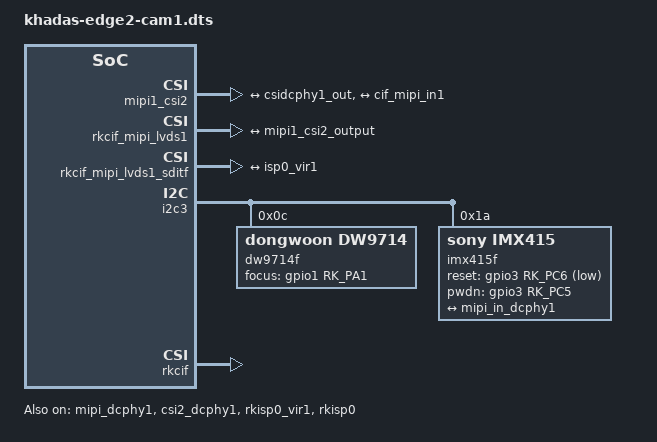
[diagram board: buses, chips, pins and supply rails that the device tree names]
/dts-v1/;
/plugin/;

#include <dt-bindings/clock/rk3588-cru.h>
#include <dt-bindings/power/rk3588-power.h>
#include <dt-bindings/gpio/gpio.h>
#include <dt-bindings/pinctrl/rockchip.h>

/ {
	fragment@0 {
		target = <&mipi_dcphy1>;

		__overlay__ {
			status = "okay";
		};
	};

	fragment@1 {
		target = <&csi2_dcphy1>;

		__overlay__ {
			status = "okay";

			ports {
				#address-cells = <1>;
				#size-cells = <0>;
				port@0 {
					reg = <0>;
					#address-cells = <1>;
					#size-cells = <0>;
		
					mipi_in_dcphy1: endpoint@1 {
						reg = <1>;
						remote-endpoint = <&imx415f_out1>;
						data-lanes = <1 2 3 4>;
					};
				};

				port@1 {
					reg = <1>;
					#address-cells = <1>;
					#size-cells = <0>;
		
					csidcphy1_out: endpoint@0 {
						reg = <0>;
						remote-endpoint = <&mipi1_csi2_input>;
					};
				};
			};		
		};
	};

	fragment@2 {
		target = <&mipi1_csi2>;

		__overlay__ {
			status = "okay";

			ports {
				#address-cells = <1>;
				#size-cells = <0>;
		
				port@0 {
					reg = <0>;
					#address-cells = <1>;
					#size-cells = <0>;
		
					mipi1_csi2_input: endpoint@1 {
						reg = <1>;
						remote-endpoint = <&csidcphy1_out>;
					};
				};
		
				port@1 {
					reg = <1>;
					#address-cells = <1>;
					#size-cells = <0>;
		
					mipi1_csi2_output: endpoint@0 {
						reg = <0>;
						remote-endpoint = <&cif_mipi_in1>;
					};
				};
			};			
		};
	};

	fragment@3 {
		target = <&rkcif_mipi_lvds1>;

		__overlay__ {
			status = "okay";

			port {
				cif_mipi_in1: endpoint {
					remote-endpoint = <&mipi1_csi2_output>;
				};
			};		
		};
	};

	fragment@4 {
		target = <&rkcif_mipi_lvds1_sditf>;

		__overlay__ {
			status = "okay";

			port {
				mipi1_lvds_sditf: endpoint {
					remote-endpoint = <&isp0_vir1>;
				};
			};		
		};
	};

	fragment@5 {
		target = <&rkisp0_vir1>;

		__overlay__ {
			status = "okay";

			port {
				#address-cells = <1>;
				#size-cells = <0>;
		
				isp0_vir1: endpoint@0 {
					reg = <0>;
					remote-endpoint = <&mipi1_lvds_sditf>;
				};
			};				
		};
	};

	fragment@6 {
		target = <&i2c3>;

		__overlay__ {
			status = "okay";
			pinctrl-names = "default";
			pinctrl-0 = <&i2c3m0_xfer>;
		
			dw9714f: dw9714f@c {
				compatible = "dongwoon,dw9714";
				status = "okay";
				reg = <0x0c>;
				pinctrl-names = "focusf_gpios";
				pinctrl-0 = <&focusf_gpio>;
				focus-gpios = <&gpio1 RK_PA1 GPIO_ACTIVE_HIGH>;
				rockchip,vcm-start-current = <20>;
				rockchip,vcm-rated-current = <76>;
				rockchip,vcm-step-mode = <0>;
				rockchip,camera-module-index = <1>;
				rockchip,camera-module-facing = "front";
			};
		
			imx415f: imx415f@1a {
				compatible = "sony,imx415";
				status = "okay";
				reg = <0x1a>;
				clocks = <&cru CLK_MIPI_CAMARAOUT_M2>;
				clock-names = "xvclk";
				power-domains = <&power RK3588_PD_VI>;
				pinctrl-names = "default", "camf_gpios";
				pinctrl-0 = <&mipim1_camera2_clk>, <&camf_gpio>;
				rockchip,grf = <&sys_grf>;
				reset-gpios = <&gpio3 RK_PC6 GPIO_ACTIVE_LOW>;
				pwdn-gpios = <&gpio3 RK_PC5 GPIO_ACTIVE_HIGH>;
				rockchip,camera-module-index = <1>;
				rockchip,camera-module-facing = "front";
				rockchip,camera-module-name = "CMK-OT2022-PX1";
				rockchip,camera-module-lens-name = "IR0147-50IRC-8M-F20";
				lens-focus = <&dw9714f>;
				port {
					imx415f_out1: endpoint {
						remote-endpoint = <&mipi_in_dcphy1>;
						data-lanes = <1 2 3 4>;
					};
				};
			};		
		};
	};

	fragment@7 {
		target = <&pinctrl>;

		__overlay__ {
			cam1 {
				camf_gpio: camf-gpio {
					rockchip,pins =
						<3 RK_PC6 RK_FUNC_GPIO &pcfg_pull_none>,
						<3 RK_PC5 RK_FUNC_GPIO &pcfg_pull_none>;
				};

				focusf_gpio: focusf-gpio {
					rockchip,pins =
						<1 RK_PA1 RK_FUNC_GPIO &pcfg_pull_none>;
				};
			};
		};
	};

	fragment@8 {
		target = <&rkcif>;

		__overlay__ {
			status = "okay";
		};
	};

	fragment@9 {
		target = <&rkcif_mmu>;

		__overlay__ {
			status = "okay";
		};
	};

	fragment@10 {
		target = <&rkisp0>;

		__overlay__ {
			status = "okay";
		};
	};

	fragment@11 {
		target = <&isp0_mmu>;

		__overlay__ {
			status = "okay";
		};
	};
};
